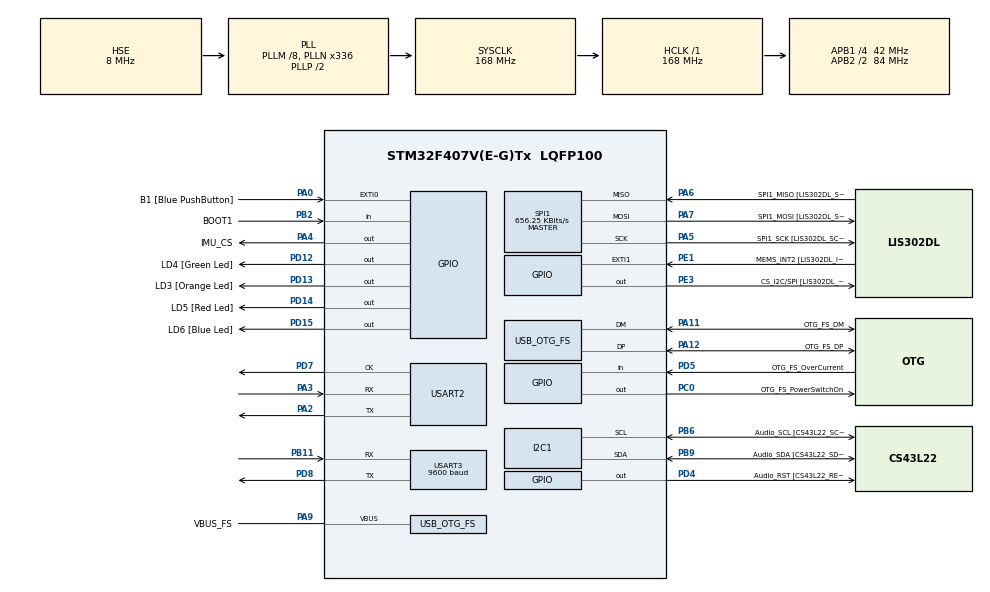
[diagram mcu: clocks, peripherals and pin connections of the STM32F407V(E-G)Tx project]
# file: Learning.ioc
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Mcu.Family=STM32F4
Mcu.Name=STM32F407V(E-G)Tx
Mcu.Package=LQFP100
NVIC.OTG_FS_IRQn=true\:0\:0\:false\:false\:true\:true\:true\:true
NVIC.PriorityGroup=NVIC_PRIORITYGROUP_0
PA0-WKUP.GPIO_Label=B1 [Blue PushButton]
PA0-WKUP.GPIO_ModeDefaultEXTI=GPIO_MODE_EVT_RISING
PA0-WKUP.GPIO_PuPd=GPIO_NOPULL
PA0-WKUP.Signal=GPXTI0
PA10.GPIO_Label=OTG_FS_ID
PA10.GPIO_Mode=GPIO_MODE_AF_PP
PA10.GPIO_PuPd=GPIO_NOPULL
PA10.GPIO_Speed=GPIO_SPEED_FREQ_LOW
PA10.Signal=USB_OTG_FS_ID
PA11.GPIO_Label=OTG_FS_DM
PA11.GPIO_Mode=GPIO_MODE_AF_PP
PA11.GPIO_PuPd=GPIO_NOPULL
PA11.GPIO_Speed=GPIO_SPEED_FREQ_LOW
PA11.Mode=Host_Only
PA11.Signal=USB_OTG_FS_DM
PA12.GPIO_Label=OTG_FS_DP
PA12.GPIO_Mode=GPIO_MODE_AF_PP
PA12.GPIO_PuPd=GPIO_NOPULL
PA12.GPIO_Speed=GPIO_SPEED_FREQ_LOW
PA12.Mode=Host_Only
PA12.Signal=USB_OTG_FS_DP
PA13.GPIO_Label=SWDIO
PA13.Mode=Serial_Wire
PA13.Signal=SYS_JTMS-SWDIO
PA14.GPIO_Label=SWCLK
PA14.Mode=Serial_Wire
PA14.Signal=SYS_JTCK-SWCLK
PA2.Mode=Synchronous
PA2.Signal=USART2_TX
PA3.Mode=Synchronous
PA3.Signal=USART2_RX
PA4.GPIO_Label=IMU_CS
PA4.Signal=GPIO_Output
PA5.GPIO_Label=SPI1_SCK [LIS302DL_SCL/SPC]
PA5.GPIO_Mode=GPIO_MODE_AF_PP
PA5.GPIO_PuPd=GPIO_NOPULL
PA5.GPIO_Speed=GPIO_SPEED_FREQ_LOW
PA5.Mode=Full_Duplex_Master
PA5.Signal=SPI1_SCK
PA6.GPIO_Label=SPI1_MISO [LIS302DL_SDO]
PA6.GPIO_Mode=GPIO_MODE_AF_PP
PA6.GPIO_PuPd=GPIO_NOPULL
PA6.GPIO_Speed=GPIO_SPEED_FREQ_LOW
PA6.Mode=Full_Duplex_Master
PA6.Signal=SPI1_MISO
PA7.GPIO_Label=SPI1_MOSI [LIS302DL_SDA/SDI/SDO]
PA7.GPIO_Mode=GPIO_MODE_AF_PP
PA7.GPIO_PuPd=GPIO_NOPULL
PA7.GPIO_Speed=GPIO_SPEED_FREQ_LOW
PA7.Mode=Full_Duplex_Master
PA7.Signal=SPI1_MOSI
PA9.GPIO_Label=VBUS_FS
PA9.GPIO_Mode=GPIO_MODE_INPUT
PA9.GPIO_PuPd=GPIO_NOPULL
PA9.Mode=Activate_VBUS
PA9.Signal=USB_OTG_FS_VBUS
PB10.GPIO_Label=CLK_IN [MP45DT02_CLK]
PB10.GPIO_Mode=GPIO_MODE_AF_PP
PB10.GPIO_PuPd=GPIO_NOPULL
PB10.GPIO_Speed=GPIO_SPEED_FREQ_LOW
PB10.Signal=I2S2_CK
PB11.Mode=Asynchronous
PB11.Signal=USART3_RX
PB2.GPIO_Label=BOOT1
PB2.GPIO_Mode=GPIO_MODE_INPUT
PB2.GPIO_PuPd=GPIO_NOPULL
PB2.Signal=GPIO_Input
PB3.GPIO_Label=SWO
PB3.Signal=SYS_JTDO-SWO
PB6.GPIO_Label=Audio_SCL [CS43L22_SCL]
PB6.GPIO_Mode=GPIO_MODE_AF_OD
PB6.GPIO_Pu=GPIO_PULLUP
PB6.GPIO_PuPd=GPIO_NOPULL
PB6.GPIO_Speed=GPIO_SPEED_FREQ_LOW
PB6.Mode=I2C
PB6.Signal=I2C1_SCL
PB9.GPIO_Label=Audio_SDA [CS43L22_SDA]
PB9.GPIO_Mode=GPIO_MODE_AF_OD
PB9.GPIO_Pu=GPIO_PULLUP
PB9.GPIO_PuPd=GPIO_NOPULL
PB9.GPIO_Speed=GPIO_SPEED_FREQ_LOW
PB9.Mode=I2C
PB9.Signal=I2C1_SDA
PC0.GPIO_Label=OTG_FS_PowerSwitchOn
PC0.GPIO_PuPd=GPIO_NOPULL
PC0.GPIO_Speed=GPIO_SPEED_FREQ_LOW
PC0.PinState=GPIO_PIN_SET
PC0.Signal=GPIO_Output
PC10.GPIO_Label=I2S3_SCK [CS43L22_SCLK]
PC10.GPIO_Mode=GPIO_MODE_AF_PP
PC10.GPIO_PuPd=GPIO_NOPULL
PC10.GPIO_Speed=GPIO_SPEED_FREQ_LOW
PC10.Signal=I2S3_CK
PC12.GPIO_Label=I2S3_SD [CS43L22_SDIN]
PC12.GPIO_Mode=GPIO_MODE_AF_PP
PC12.GPIO_PuPd=GPIO_NOPULL
PC12.GPIO_Speed=GPIO_SPEED_FREQ_LOW
PC12.Signal=I2S3_SD
PC14-OSC32_IN.GPIO_Label=PC14-OSC32_IN
PC14-OSC32_IN.Mode=LSE-External-Oscillator
PC14-OSC32_IN.Signal=RCC_OSC32_IN
PC15-OSC32_OUT.GPIO_Label=PC15-OSC32_OUT
PC15-OSC32_OUT.Mode=LSE-External-Oscillator
PC15-OSC32_OUT.Signal=RCC_OSC32_OUT
PC3.GPIO_Label=PDM_OUT [MP45DT02_DOUT]
PC3.GPIO_Mode=GPIO_MODE_AF_PP
PC3.GPIO_PuPd=GPIO_NOPULL
PC3.GPIO_Speed=GPIO_SPEED_FREQ_LOW
PC3.Signal=I2S2_SD
PC7.GPIO_Label=I2S3_MCK [CS43L22_MCLK]
PC7.GPIO_Mode=GPIO_MODE_AF_PP
PC7.GPIO_PuPd=GPIO_NOPULL
PC7.GPIO_Speed=GPIO_SPEED_FREQ_LOW
PC7.Signal=I2S3_MCK
PD12.GPIO_Label=LD4 [Green Led]
PD12.GPIO_PuPd=GPIO_NOPULL
PD12.GPIO_Speed=GPIO_SPEED_FREQ_LOW
PD12.Signal=GPIO_Output
PD13.GPIO_Label=LD3 [Orange Led]
PD13.GPIO_PuPd=GPIO_NOPULL
PD13.GPIO_Speed=GPIO_SPEED_FREQ_LOW
PD13.Signal=GPIO_Output
PD14.GPIO_Label=LD5 [Red Led]
PD14.GPIO_PuPd=GPIO_NOPULL
PD14.GPIO_Speed=GPIO_SPEED_FREQ_LOW
PD14.Signal=GPIO_Output
PD15.GPIO_Label=LD6 [Blue Led]
PD15.GPIO_PuPd=GPIO_NOPULL
PD15.GPIO_Speed=GPIO_SPEED_FREQ_LOW
PD15.Signal=GPIO_Output
PD4.GPIO_Label=Audio_RST [CS43L22_RESET]
PD4.GPIO_PuPd=GPIO_NOPULL
PD4.GPIO_Speed=GPIO_SPEED_FREQ_LOW
PD4.Signal=GPIO_Output
PD5.GPIO_Label=OTG_FS_OverCurrent
PD5.GPIO_Mode=GPIO_MODE_INPUT
PD5.GPIO_PuPd=GPIO_NOPULL
PD5.Signal=GPIO_Input
PD7.Mode=Synchronous
PD7.Signal=USART2_CK
PD8.Mode=Asynchronous
PD8.Signal=USART3_TX
PE1.GPIO_Label=MEMS_INT2 [LIS302DL_INT2]
PE1.GPIO_ModeDefaultEXTI=GPIO_MODE_EVT_RISING
PE1.GPIO_PuPd=GPIO_NOPULL
PE1.Signal=GPXTI1
PE3.GPIO_Label=CS_I2C/SPI [LIS302DL_CS_I2C/SPI]
PE3.GPIO_PuPd=GPIO_NOPULL
PE3.GPIO_Speed=GPIO_SPEED_FREQ_LOW
PE3.Signal=GPIO_Output
PH0-OSC_IN.GPIO_Label=PH0-OSC_IN
PH0-OSC_IN.Mode=HSE-External-Oscillator
PH0-OSC_IN.Signal=RCC_OSC_IN
PH1-OSC_OUT.GPIO_Label=PH1-OSC_OUT
PH1-OSC_OUT.Mode=HSE-External-Oscillator
PH1-OSC_OUT.Signal=RCC_OSC_OUT
ProjectManager.HeapSize=0x200
ProjectManager.StackSize=0x400
ProjectManager.TargetToolchain=STM32CubeIDE
RCC.48MHZClocksFreq_Value=48000000
RCC.AHBFreq_Value=168000000
RCC.APB1CLKDivider=RCC_HCLK_DIV4
RCC.APB1Freq_Value=42000000
RCC.APB1TimFreq_Value=84000000
RCC.APB2CLKDivider=RCC_HCLK_DIV2
RCC.APB2Freq_Value=84000000
RCC.APB2TimFreq_Value=168000000
RCC.CortexFreq_Value=168000000
RCC.HCLKFreq_Value=168000000
RCC.HSE_VALUE=8000000
RCC.HSI_VALUE=16000000
RCC.PLLM=8
RCC.PLLN=336
RCC.PLLQ=7
RCC.SYSCLKFreq_VALUE=168000000
RCC.SYSCLKSource=RCC_SYSCLKSOURCE_PLLCLK
RCC.VCOOutputFreq_Value=336000000
SPI1.BaudRatePrescaler=SPI_BAUDRATEPRESCALER_128
SPI1.BaudRatePrescaler-Full_Duplex_Master=SPI_BAUDRATEPRESCALER_2
SPI1.CalculateBaudRate=656.25 KBits/s
SPI1.CalculateBaudRate-Full_Duplex_Master=42.0 MBits/s
SPI1.Direction=SPI_DIRECTION_2LINES
SPI1.Mode=SPI_MODE_MASTER
SPI1.Mode-Full_Duplex_Master=SPI_MODE_MASTER
SPI1.VirtualType=VM_MASTER
USART2.VirtualMode=VM_SYNC
USART3.BaudRate=9600
USART3.VirtualMode=VM_ASYNC
USB_HOST.BSP.number=1
USB_HOST.USBH_HandleTypeDef-CDC_FS=hUsbHostFS
USB_HOST.VirtualModeFS=Cdc
USB_HOST0.BSP.STBoard=false
USB_HOST0.BSP.api=Unknown
USB_HOST0.BSP.instance=PC0
USB_HOST0.BSP.ip=GPIO
USB_HOST0.BSP.mode=Output
USB_HOST0.BSP.name=Drive_VBUS_FS
USB_HOST0.BSP.solution=PC0
USB_OTG_FS.VirtualMode=Host_Only
USB_OTG_FS.phy_itface=HCD_PHY_EMBEDDED
VP_USB_HOST_VS_USB_HOST_CDC_FS.Mode=CDC_FS
board=STM32F407G-DISC1

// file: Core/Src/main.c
/* USER CODE BEGIN Header */
/**
  ******************************************************************************
  * @file           : main.c
  * @brief          : Main program body
  ******************************************************************************
  * @attention
  *
  * Copyright (c) 2023 STMicroelectronics.
  * All rights reserved.
  *
  * This software is licensed under terms that can be found in the LICENSE file
  * in the root directory of this software component.
  * If no LICENSE file comes with this software, it is provided AS-IS.
  *
  ******************************************************************************
  */
/* USER CODE END Header */
#include "main.h"
#include "usb_host.h"

/* USER CODE BEGIN Includes */
#include "string.h"
#include "stdio.h"
#include "math.h"
/* USER CODE END Includes */

I2C_HandleTypeDef hi2c1;

SPI_HandleTypeDef hspi1;

USART_HandleTypeDef husart2;
UART_HandleTypeDef huart3;

/* USER CODE BEGIN PV */
static const uint8_t BARO_ADDR = 0x77 << 1; //Left shifted to use 8 bit address
static const uint8_t BARO_RESET = 0x1E; //Reset command
static const uint8_t ADC_BARO_READ_ADDR = 0x00; //Command to read Baro's ADC (24 bit read)
static const uint8_t BARO_PROM_ADDR = 0xA0; //Base PROM ADDR for Baro sensor
static const uint8_t BARO_C1 = 0x02;
static const uint8_t BARO_C2 = 0x04;
static const uint8_t BARO_C3 = 0x06;
static const uint8_t BARO_C4 = 0x08;
static const uint8_t BARO_C5 = 0x0A;
static const uint8_t BARO_C6 = 0x0C;
static const uint8_t BARO_CONVERT_PRESSURE = 0x48; //Command to convert baro sensor to reading pressure
static const uint8_t BARO_CONVERT_TEMP = 0x58; //Command to convert baro sensor to reading temperature

static const uint8_t ACCEL_XOUT_H = (0x3B | 0x80); //High bit x accel register address ORed with read bit
static const uint8_t ACCEL_XOUT_L = (0x3C | 0x80); //Low bit x accel register address ORed with read bit
//static const uint8_t ACCEL_YOUT_H = (0x3D | 0x80); //High bit y accel register address ORed with read bit
//static const uint8_t ACCEL_YOUT_L = (0x3E | 0x80); //Low bit y accel register address ORed with read bit
//static const uint8_t ACCEL_ZOUT_H = (0x3F | 0x80); //High bit z accel register address ORed with read bit
//static const uint8_t ACCEL_ZOUT_L = (0x40 | 0x80); //Low bit z accel register address ORed with read bit

/* USER CODE END PV */

void SystemClock_Config(void);
static void MX_GPIO_Init(void);
static void MX_I2C1_Init(void);
static void MX_SPI1_Init(void);
static void MX_USART2_Init(void);
static void MX_USART3_UART_Init(void);
void MX_USB_HOST_Process(void);

int main(void)
{
  /* USER CODE BEGIN 1 */
	HAL_StatusTypeDef ret;
	uint8_t buf[16];
	char usart_buf[82];
	uint16_t C1 = 1, C2 = 1, C3 = 1, C4 = 1, C5 = 1, C6 = 1;
	int accel_x = 1;
	uint32_t pressure = 0, temp = 0;
	int32_t dT = 0, TEMP, P;
	int64_t OFF = 0, SENS = 0;
	uint8_t spi_buf[2];
  /* USER CODE END 1 */

  /* MCU Configuration--------------------------------------------------------*/

  /* Reset of all peripherals, Initializes the Flash interface and the Systick. */
  HAL_Init();

  /* Configure the system clock */
  SystemClock_Config();

  /* Initialize all configured peripherals */
  MX_GPIO_Init();
  MX_I2C1_Init();
  MX_SPI1_Init();
  MX_USB_HOST_Init();
  MX_USART2_Init();
  MX_USART3_UART_Init();
  /* USER CODE BEGIN 2 */
  	HAL_GPIO_WritePin(GPIOA, GPIO_PIN_4, GPIO_PIN_SET);
	HAL_Delay(100);

	// Send reset command to baro sensor on initialization
	buf[0] = BARO_RESET;
	ret = HAL_I2C_Master_Transmit(&hi2c1, BARO_ADDR, buf, 1, HAL_MAX_DELAY);
	if (ret != HAL_OK){
		strcpy((char*)buf, "Error TX_1\r\n");
	}
	HAL_Delay(50);

	buf[0] = BARO_PROM_ADDR | BARO_C1;
	ret = HAL_I2C_Master_Transmit(&hi2c1, BARO_ADDR, buf, 1, HAL_MAX_DELAY);
	if (ret != HAL_OK){
		strcpy((char*)buf, "Error TX_1a\r\n");
	}else{
		  ret = HAL_I2C_Master_Receive(&hi2c1, BARO_ADDR, buf, 2, HAL_MAX_DELAY);
		  if (ret != HAL_OK){
			  strcpy((char*)buf, "Error Rx\r\n");
		  } else {
			  C1 = ((buf[0] << 8) | buf[1]);
		  }
	}
	HAL_Delay(50);

	buf[0] = BARO_PROM_ADDR | BARO_C2;
	ret = HAL_I2C_Master_Transmit(&hi2c1, BARO_ADDR, buf, 1, HAL_MAX_DELAY);
	if (ret != HAL_OK){
		strcpy((char*)buf, "Error TX_1b\r\n");
	}else{
		  ret = HAL_I2C_Master_Receive(&hi2c1, BARO_ADDR, buf, 2, HAL_MAX_DELAY);
		  if (ret != HAL_OK){
			  strcpy((char*)buf, "Error Rx\r\n");
		  } else {
			  C2 = ((buf[0] << 8) | buf[1]);
		  }
	}
	HAL_Delay(50);

	buf[0] = BARO_PROM_ADDR | BARO_C3;
	ret = HAL_I2C_Master_Transmit(&hi2c1, BARO_ADDR, buf, 1, HAL_MAX_DELAY);
	if (ret != HAL_OK){
		strcpy((char*)buf, "Error TX_1c\r\n");
	}else{
		  ret = HAL_I2C_Master_Receive(&hi2c1, BARO_ADDR, buf, 2, HAL_MAX_DELAY);
		  if (ret != HAL_OK){
			  strcpy((char*)buf, "Error Rx\r\n");
		  } else {
			  C3 = ((buf[0] << 8) | buf[1]);
		  }
	}
	HAL_Delay(50);

	buf[0] = BARO_PROM_ADDR | BARO_C4;
	ret = HAL_I2C_Master_Transmit(&hi2c1, BARO_ADDR, buf, 1, HAL_MAX_DELAY);
	if (ret != HAL_OK){
		strcpy((char*)buf, "Error TX_1d\r\n");
	}else{
		  ret = HAL_I2C_Master_Receive(&hi2c1, BARO_ADDR, buf, 2, HAL_MAX_DELAY);
		  if (ret != HAL_OK){
			  strcpy((char*)buf, "Error Rx\r\n");
		  } else {
			  C4 = ((buf[0] << 8) | buf[1]);
		  }
	}
	HAL_Delay(50);

	buf[0] = BARO_PROM_ADDR | BARO_C5;
	ret = HAL_I2C_Master_Transmit(&hi2c1, BARO_ADDR, buf, 1, HAL_MAX_DELAY);
	if (ret != HAL_OK){
		strcpy((char*)buf, "Error TX_1e\r\n");
	}else{
		  ret = HAL_I2C_Master_Receive(&hi2c1, BARO_ADDR, buf, 2, HAL_MAX_DELAY);
		  if (ret != HAL_OK){
			  strcpy((char*)buf, "Error Rx\r\n");
		  } else {
			  C5 = ((buf[0] << 8) | buf[1]);
		  }
	}
	HAL_Delay(50);

	buf[0] = BARO_PROM_ADDR | BARO_C6;
	ret = HAL_I2C_Master_Transmit(&hi2c1, BARO_ADDR, buf, 1, HAL_MAX_DELAY);
	if (ret != HAL_OK){
		strcpy((char*)buf, "Error TX_1f\r\n");
	}else{
		  ret = HAL_I2C_Master_Receive(&hi2c1, BARO_ADDR, buf, 2, HAL_MAX_DELAY);
		  if (ret != HAL_OK){
			  strcpy((char*)buf, "Error Rx\r\n");
		  } else {
			  C6 = ((buf[0] << 8) | buf[1]);
		  }
	}
	HAL_Delay(50);

  /* USER CODE END 2 */

  /* Infinite loop */
  /* USER CODE BEGIN WHILE */
  while (1)
  {

	  // Convert to reading pressure values

	  buf[0] = BARO_CONVERT_PRESSURE;
	  ret = HAL_I2C_Master_Transmit(&hi2c1, BARO_ADDR, buf, 1, HAL_MAX_DELAY);
	  if (ret != HAL_OK){
		  strcpy((char*)buf, "Error TX_2\r\n");
	  }

	  HAL_Delay(15);

	  // Read Pressure value

	  buf[0] = ADC_BARO_READ_ADDR;
	  ret = HAL_I2C_Master_Transmit(&hi2c1, BARO_ADDR, buf, 1, HAL_MAX_DELAY);
	  if (ret != HAL_OK){
		  strcpy((char*)buf, "Error TX_3\r\n");
	  } else{
		  ret = HAL_I2C_Master_Receive(&hi2c1, BARO_ADDR, buf, 3, HAL_MAX_DELAY);
		  if (ret != HAL_OK){
			  strcpy((char*)buf, "Error Rx\r\n");
		  } else {
			  pressure = ((0x00 << 24) | (buf[0] << 16) | (buf[1] << 8) | buf[2]);
		  }
	  }

	  //Convert to reading temperature value

	  buf[0] = BARO_CONVERT_TEMP;
	 	  ret = HAL_I2C_Master_Transmit(&hi2c1, BARO_ADDR, buf, 1, HAL_MAX_DELAY);
	 	  if (ret != HAL_OK){
	 		  strcpy((char*)buf, "Error TX_2\r\n");
	 	  }

	  HAL_Delay(15);

	  // Read temperature value

	  buf[0] = ADC_BARO_READ_ADDR;
	  ret = HAL_I2C_Master_Transmit(&hi2c1, BARO_ADDR, buf, 1, HAL_MAX_DELAY);
	  if (ret != HAL_OK){
		  strcpy((char*)buf, "Error TX_3\r\n");
	  } else{
		  ret = HAL_I2C_Master_Receive(&hi2c1, BARO_ADDR, buf, 3, HAL_MAX_DELAY);
		  if (ret != HAL_OK){
			  strcpy((char*)buf, "Error Rx\r\n");
		  } else {
			  temp = ((0x00 << 24) | (buf[0] << 16) | (buf[1] << 8) | buf[2]);
		  }
	  }

	  //sprintf((char*)buf, "%u \r\n", temp);
	  //HAL_USART_Transmit(&husart2, buf, strlen((char*)buf), HAL_MAX_DELAY);

	  dT = temp - C5*pow(2,8);
	  TEMP = 2000 + dT*C6/pow(2,23);
	  strcpy((char*)buf, "Temperature: ");
	  HAL_USART_Transmit(&husart2, buf, strlen((char*)buf), HAL_MAX_DELAY);
	  sprintf((char*)buf, "%i.%02u C\r\n", (int)TEMP/100, (unsigned int)TEMP%100);
	  HAL_USART_Transmit(&husart2, buf, strlen((char*)buf), HAL_MAX_DELAY);

	  OFF = C2*pow(2,16) + (C4*dT)/pow(2,7);
	  SENS = C1*pow(2,15) + (C3*dT)/pow(2,8);
	  P = (pressure*SENS/pow(2,21) - OFF)/pow(2,15);

	  strcpy((char*)buf, "Pressure: ");
	  HAL_USART_Transmit(&husart2, buf, strlen((char*)buf), HAL_MAX_DELAY);
	  sprintf((char*)buf, "%i.%02u Pa\r\n", (int)P/100, (unsigned int)P % 100 );
	  HAL_USART_Transmit(&husart2, buf, strlen((char*)buf), HAL_MAX_DELAY);

	  HAL_Delay(500);

	/*  HAL_GPIO_WritePin(GPIOA, GPIO_PIN_4, GPIO_PIN_RESET);
	  ret = HAL_SPI_Transmit(&hspi1, (uint8_t *)&ACCEL_XOUT_H, 1, 100);
	  if (ret != HAL_OK){
		  strcpy((char*)buf, "Error TX_3\r\n");
	  } else{
		  ret = HAL_SPI_Receive(&hspi1, (uint8_t *)spi_buf, 1, 100);
		  if (ret != HAL_OK){
			  strcpy((char*)buf, "Error Rx\r\n");
		  } else {
			  accel_x = (spi_buf[0]<<8);
		  }
	  }
	  HAL_GPIO_WritePin(GPIOA, GPIO_PIN_4, GPIO_PIN_SET);
	  HAL_Delay(10);

	  HAL_GPIO_WritePin(GPIOA, GPIO_PIN_4, GPIO_PIN_RESET);
	  ret = HAL_SPI_Transmit(&hspi1, (uint8_t *)&ACCEL_XOUT_L, 1, 100);
	  if (ret != HAL_OK){
		  strcpy((char*)buf, "Error TX_3\r\n");
	  } else{
		  ret = HAL_SPI_Receive(&hspi1, (uint8_t *)spi_buf, 1, 100);
		  if (ret != HAL_OK){
			  strcpy((char*)buf, "Error Rx\r\n");
		  } else {
			  accel_x |= spi_buf[0];
		  }
	  }
	  HAL_GPIO_WritePin(GPIOA, GPIO_PIN_4, GPIO_PIN_SET);

	  strcpy((char*)buf, "Accel X: ");
	  HAL_USART_Transmit(&husart2, buf, strlen((char*)buf), HAL_MAX_DELAY);
	  sprintf((char*)buf, "%i\r\n", (int)accel_x);
	  HAL_USART_Transmit(&husart2, buf, strlen((char*)buf), HAL_MAX_DELAY);*/

// Tried to read GPS over Uart3 but just got junk. Looks like I might need a ring buffer
//	  HAL_Delay(10);
//
//	  HAL_USART_Receive(&huart3, usart_buf, strlen((char*)usart_buf), 5000);
//
//	  strcpy((char*)buf, "GPS: ");
//	  HAL_USART_Transmit(&husart2, buf, strlen((char*)buf), HAL_MAX_DELAY);
//	  HAL_USART_Transmit(&husart2, (char*)usart_buf, strlen((char*)usart_buf), HAL_MAX_DELAY);
//	  strcpy((char*)buf, "\r\n");
//	  HAL_USART_Transmit(&husart2, buf, strlen((char*)buf), HAL_MAX_DELAY);

	  //HAL_Delay(500);

    /* USER CODE END WHILE */
    MX_USB_HOST_Process();

  }
}

void SystemClock_Config(void)
{
  RCC_OscInitTypeDef RCC_OscInitStruct = {0};
  RCC_ClkInitTypeDef RCC_ClkInitStruct = {0};

  /** Configure the main internal regulator output voltage
  */
  __HAL_RCC_PWR_CLK_ENABLE();
  __HAL_PWR_VOLTAGESCALING_CONFIG(PWR_REGULATOR_VOLTAGE_SCALE1);

  /** Initializes the RCC Oscillators according to the specified parameters
  * in the RCC_OscInitTypeDef structure.
  */
  RCC_OscInitStruct.OscillatorType = RCC_OSCILLATORTYPE_HSE;
  RCC_OscInitStruct.HSEState = RCC_HSE_ON;
  RCC_OscInitStruct.PLL.PLLState = RCC_PLL_ON;
  RCC_OscInitStruct.PLL.PLLSource = RCC_PLLSOURCE_HSE;
  RCC_OscInitStruct.PLL.PLLM = 8;
  RCC_OscInitStruct.PLL.PLLN = 336;
  RCC_OscInitStruct.PLL.PLLP = RCC_PLLP_DIV2;
  RCC_OscInitStruct.PLL.PLLQ = 7;
  if (HAL_RCC_OscConfig(&RCC_OscInitStruct) != HAL_OK)
  {
    Error_Handler();
  }

  /** Initializes the CPU, AHB and APB buses clocks
  */
  RCC_ClkInitStruct.ClockType = RCC_CLOCKTYPE_HCLK|RCC_CLOCKTYPE_SYSCLK
                              |RCC_CLOCKTYPE_PCLK1|RCC_CLOCKTYPE_PCLK2;
  RCC_ClkInitStruct.SYSCLKSource = RCC_SYSCLKSOURCE_PLLCLK;
  RCC_ClkInitStruct.AHBCLKDivider = RCC_SYSCLK_DIV1;
  RCC_ClkInitStruct.APB1CLKDivider = RCC_HCLK_DIV4;
  RCC_ClkInitStruct.APB2CLKDivider = RCC_HCLK_DIV2;

  if (HAL_RCC_ClockConfig(&RCC_ClkInitStruct, FLASH_LATENCY_5) != HAL_OK)
  {
    Error_Handler();
  }
}

static void MX_I2C1_Init(void)
{

  hi2c1.Instance = I2C1;
  hi2c1.Init.ClockSpeed = 100000;
  hi2c1.Init.DutyCycle = I2C_DUTYCYCLE_2;
  hi2c1.Init.OwnAddress1 = 0;
  hi2c1.Init.AddressingMode = I2C_ADDRESSINGMODE_7BIT;
  hi2c1.Init.DualAddressMode = I2C_DUALADDRESS_DISABLE;
  hi2c1.Init.OwnAddress2 = 0;
  hi2c1.Init.GeneralCallMode = I2C_GENERALCALL_DISABLE;
  hi2c1.Init.NoStretchMode = I2C_NOSTRETCH_DISABLE;
  if (HAL_I2C_Init(&hi2c1) != HAL_OK)
  {
    Error_Handler();
  }

}

static void MX_SPI1_Init(void)
{

  /* SPI1 parameter configuration*/
  hspi1.Instance = SPI1;
  hspi1.Init.Mode = SPI_MODE_MASTER;
  hspi1.Init.Direction = SPI_DIRECTION_2LINES;
  hspi1.Init.DataSize = SPI_DATASIZE_8BIT;
  hspi1.Init.CLKPolarity = SPI_POLARITY_LOW;
  hspi1.Init.CLKPhase = SPI_PHASE_1EDGE;
  hspi1.Init.NSS = SPI_NSS_SOFT;
  hspi1.Init.BaudRatePrescaler = SPI_BAUDRATEPRESCALER_128;
  hspi1.Init.FirstBit = SPI_FIRSTBIT_MSB;
  hspi1.Init.TIMode = SPI_TIMODE_DISABLE;
  hspi1.Init.CRCCalculation = SPI_CRCCALCULATION_DISABLE;
  hspi1.Init.CRCPolynomial = 10;
  if (HAL_SPI_Init(&hspi1) != HAL_OK)
  {
    Error_Handler();
  }

}

static void MX_USART2_Init(void)
{

  husart2.Instance = USART2;
  husart2.Init.BaudRate = 115200;
  husart2.Init.WordLength = USART_WORDLENGTH_8B;
  husart2.Init.StopBits = USART_STOPBITS_1;
  husart2.Init.Parity = USART_PARITY_NONE;
  husart2.Init.Mode = USART_MODE_TX_RX;
  husart2.Init.CLKPolarity = USART_POLARITY_LOW;
  husart2.Init.CLKPhase = USART_PHASE_1EDGE;
  husart2.Init.CLKLastBit = USART_LASTBIT_DISABLE;
  if (HAL_USART_Init(&husart2) != HAL_OK)
  {
    Error_Handler();
  }

}

static void MX_USART3_UART_Init(void)
{

  huart3.Instance = USART3;
  huart3.Init.BaudRate = 9600;
  huart3.Init.WordLength = UART_WORDLENGTH_8B;
  huart3.Init.StopBits = UART_STOPBITS_1;
  huart3.Init.Parity = UART_PARITY_NONE;
  huart3.Init.Mode = UART_MODE_TX_RX;
  huart3.Init.HwFlowCtl = UART_HWCONTROL_NONE;
  huart3.Init.OverSampling = UART_OVERSAMPLING_16;
  if (HAL_UART_Init(&huart3) != HAL_OK)
  {
    Error_Handler();
  }

}

static void MX_GPIO_Init(void)
{
  GPIO_InitTypeDef GPIO_InitStruct = {0};

  /* GPIO Ports Clock Enable */
  __HAL_RCC_GPIOE_CLK_ENABLE();
  __HAL_RCC_GPIOC_CLK_ENABLE();
  __HAL_RCC_GPIOH_CLK_ENABLE();
  __HAL_RCC_GPIOA_CLK_ENABLE();
  __HAL_RCC_GPIOB_CLK_ENABLE();
  __HAL_RCC_GPIOD_CLK_ENABLE();

  /*Configure GPIO pin Output Level */
  HAL_GPIO_WritePin(CS_I2C_SPI_GPIO_Port, CS_I2C_SPI_Pin, GPIO_PIN_RESET);

  /*Configure GPIO pin Output Level */
  HAL_GPIO_WritePin(OTG_FS_PowerSwitchOn_GPIO_Port, OTG_FS_PowerSwitchOn_Pin, GPIO_PIN_SET);

  /*Configure GPIO pin Output Level */
  HAL_GPIO_WritePin(IMU_CS_GPIO_Port, IMU_CS_Pin, GPIO_PIN_RESET);

  /*Configure GPIO pin Output Level */
  HAL_GPIO_WritePin(GPIOD, LD4_Pin|LD3_Pin|LD5_Pin|LD6_Pin
                          |Audio_RST_Pin, GPIO_PIN_RESET);

  /*Configure GPIO pin : CS_I2C_SPI_Pin */
  GPIO_InitStruct.Pin = CS_I2C_SPI_Pin;
  GPIO_InitStruct.Mode = GPIO_MODE_OUTPUT_PP;
  GPIO_InitStruct.Pull = GPIO_NOPULL;
  GPIO_InitStruct.Speed = GPIO_SPEED_FREQ_LOW;
  HAL_GPIO_Init(CS_I2C_SPI_GPIO_Port, &GPIO_InitStruct);

  /*Configure GPIO pin : OTG_FS_PowerSwitchOn_Pin */
  GPIO_InitStruct.Pin = OTG_FS_PowerSwitchOn_Pin;
  GPIO_InitStruct.Mode = GPIO_MODE_OUTPUT_PP;
  GPIO_InitStruct.Pull = GPIO_NOPULL;
  GPIO_InitStruct.Speed = GPIO_SPEED_FREQ_LOW;
  HAL_GPIO_Init(OTG_FS_PowerSwitchOn_GPIO_Port, &GPIO_InitStruct);

  /*Configure GPIO pin : PDM_OUT_Pin */
  GPIO_InitStruct.Pin = PDM_OUT_Pin;
  GPIO_InitStruct.Mode = GPIO_MODE_AF_PP;
  GPIO_InitStruct.Pull = GPIO_NOPULL;
  GPIO_InitStruct.Speed = GPIO_SPEED_FREQ_LOW;
  GPIO_InitStruct.Alternate = GPIO_AF5_SPI2;
  HAL_GPIO_Init(PDM_OUT_GPIO_Port, &GPIO_InitStruct);

  /*Configure GPIO pin : B1_Pin */
  GPIO_InitStruct.Pin = B1_Pin;
  GPIO_InitStruct.Mode = GPIO_MODE_EVT_RISING;
  GPIO_InitStruct.Pull = GPIO_NOPULL;
  HAL_GPIO_Init(B1_GPIO_Port, &GPIO_InitStruct);

  /*Configure GPIO pin : IMU_CS_Pin */
  GPIO_InitStruct.Pin = IMU_CS_Pin;
  GPIO_InitStruct.Mode = GPIO_MODE_OUTPUT_PP;
  GPIO_InitStruct.Pull = GPIO_NOPULL;
  GPIO_InitStruct.Speed = GPIO_SPEED_FREQ_LOW;
  HAL_GPIO_Init(IMU_CS_GPIO_Port, &GPIO_InitStruct);

  /*Configure GPIO pin : BOOT1_Pin */
  GPIO_InitStruct.Pin = BOOT1_Pin;
  GPIO_InitStruct.Mode = GPIO_MODE_INPUT;
  GPIO_InitStruct.Pull = GPIO_NOPULL;
  HAL_GPIO_Init(BOOT1_GPIO_Port, &GPIO_InitStruct);

  /*Configure GPIO pin : CLK_IN_Pin */
  GPIO_InitStruct.Pin = CLK_IN_Pin;
  GPIO_InitStruct.Mode = GPIO_MODE_AF_PP;
  GPIO_InitStruct.Pull = GPIO_NOPULL;
  GPIO_InitStruct.Speed = GPIO_SPEED_FREQ_LOW;
  GPIO_InitStruct.Alternate = GPIO_AF5_SPI2;
  HAL_GPIO_Init(CLK_IN_GPIO_Port, &GPIO_InitStruct);

  /*Configure GPIO pins : LD4_Pin LD3_Pin LD5_Pin LD6_Pin
                           Audio_RST_Pin */
  GPIO_InitStruct.Pin = LD4_Pin|LD3_Pin|LD5_Pin|LD6_Pin
                          |Audio_RST_Pin;
  GPIO_InitStruct.Mode = GPIO_MODE_OUTPUT_PP;
  GPIO_InitStruct.Pull = GPIO_NOPULL;
  GPIO_InitStruct.Speed = GPIO_SPEED_FREQ_LOW;
  HAL_GPIO_Init(GPIOD, &GPIO_InitStruct);

  /*Configure GPIO pins : I2S3_MCK_Pin I2S3_SCK_Pin I2S3_SD_Pin */
  GPIO_InitStruct.Pin = I2S3_MCK_Pin|I2S3_SCK_Pin|I2S3_SD_Pin;
  GPIO_InitStruct.Mode = GPIO_MODE_AF_PP;
  GPIO_InitStruct.Pull = GPIO_NOPULL;
  GPIO_InitStruct.Speed = GPIO_SPEED_FREQ_LOW;
  GPIO_InitStruct.Alternate = GPIO_AF6_SPI3;
  HAL_GPIO_Init(GPIOC, &GPIO_InitStruct);

  /*Configure GPIO pin : OTG_FS_OverCurrent_Pin */
  GPIO_InitStruct.Pin = OTG_FS_OverCurrent_Pin;
  GPIO_InitStruct.Mode = GPIO_MODE_INPUT;
  GPIO_InitStruct.Pull = GPIO_NOPULL;
  HAL_GPIO_Init(OTG_FS_OverCurrent_GPIO_Port, &GPIO_InitStruct);

  /*Configure GPIO pin : MEMS_INT2_Pin */
  GPIO_InitStruct.Pin = MEMS_INT2_Pin;
  GPIO_InitStruct.Mode = GPIO_MODE_EVT_RISING;
  GPIO_InitStruct.Pull = GPIO_NOPULL;
  HAL_GPIO_Init(MEMS_INT2_GPIO_Port, &GPIO_InitStruct);

}

void Error_Handler(void)
{
  __disable_irq();
  while (1)
  {
  }
}
